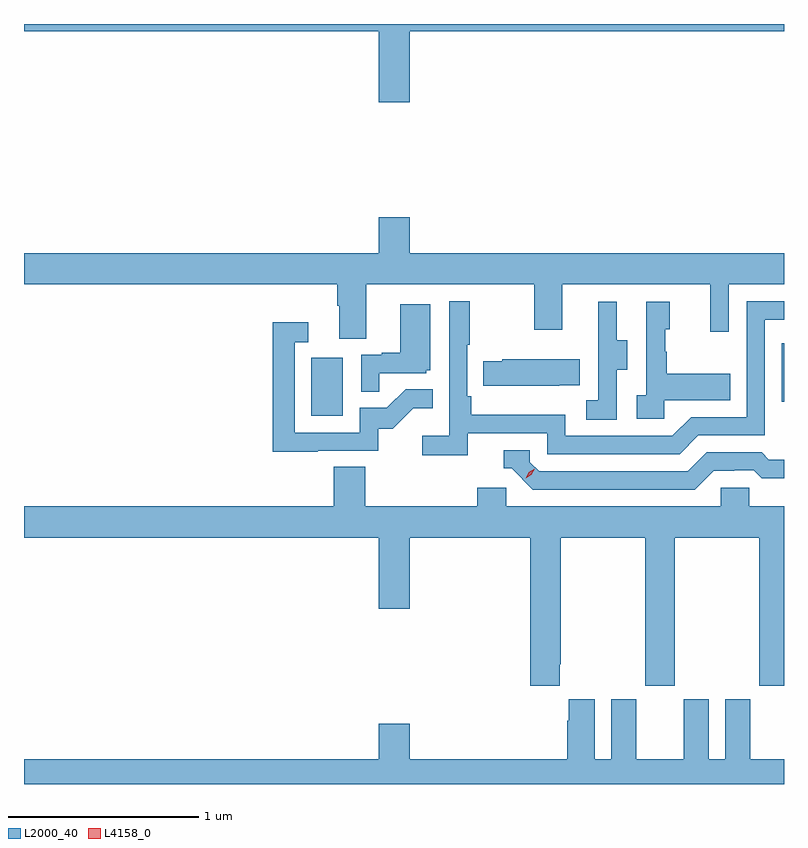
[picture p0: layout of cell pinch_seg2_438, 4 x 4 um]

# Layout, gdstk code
import gdstk
lib = gdstk.Library(unit=1e-6, precision=1e-09)
def R(c, l, rs):  # rectangles x0, y0, x1, y1
    for r in rs: c.add(gdstk.rectangle(r[:2], r[2:], *l))
def P(c, l, *ps):  # polygons
    for p in ps: c.add(gdstk.Polygon(p, *l))
L2000_40 = (2000, 40)
L4158_0 = (4158, 0)

pinch_seg2_438 = lib.new_cell('pinch_seg2_438')
R(pinch_seg2_438, L2000_40, [(919.898,613.644,920.062,613.951), (922.374,613.719,922.385,614.028)])
P(pinch_seg2_438, L2000_40, [(920.416,615.668),(922.385,615.668),(922.385,615.707),(918.385,615.707),(918.385,615.668),(920.252,615.668),(920.252,615.294),(920.416,615.294)],
  [(920.185,614.336),(921.07,614.336),(921.07,614.097),(921.217,614.097),(921.217,614.336),(921.998,614.336),(921.998,614.088),(922.095,614.088),(922.095,614.336),(922.385,614.336),(922.385,614.5),(920.416,614.5),(920.416,614.689),(920.252,614.689),(920.252,614.5),(918.385,614.5),(918.385,614.336),(920.033,614.336),(920.033,614.224),(920.045,614.224),(920.045,614.05),(920.185,614.05)],
  [(920.72,613.554),(921.138,613.554),(921.138,613.443),(921.835,613.443),(921.934,613.542),(922.284,613.542),(922.284,614.151),(922.385,614.151),(922.385,614.247),(922.188,614.247),(922.188,613.638),(921.897,613.638),(921.798,613.539),(921.234,613.539),(921.234,613.651),(920.738,613.651),(920.738,613.747),(920.718,613.747),(920.718,614.02),(920.731,614.02),(920.731,614.248),(920.622,614.248),(920.622,613.54),(920.481,613.54),(920.481,613.438),(920.72,613.438)],
  [(921.756,613.727),(922.103,613.727),(922.103,613.867),(921.769,613.867),(921.769,613.982),(921.759,613.982),(921.759,614.1),(921.784,614.1),(921.784,614.245),(921.66,614.245),(921.66,613.754),(921.609,613.754),(921.609,613.629),(921.756,613.629)],
  [(921.504,613.888),(921.559,613.888),(921.559,614.043),(921.505,614.043),(921.505,614.245),(921.407,614.245),(921.407,614.031),(921.408,614.031),(921.408,613.727),(921.345,613.727),(921.345,613.624),(921.504,613.624)],
  [(920.255,613.869),(920.502,613.869),(920.502,613.884),(920.524,613.884),(920.524,614.233),(920.366,614.233),(920.366,613.978),(920.267,613.978),(920.267,613.965),(920.16,613.965),(920.16,613.771),(920.255,613.771)],
  [(919.931,613.461),(920.25,613.461),(920.25,613.578),(920.326,613.578),(920.433,613.685),(920.537,613.685),(920.537,613.784),(920.393,613.784),(920.295,613.686),(920.151,613.686),(920.151,613.557),(919.809,613.557),(919.809,614.031),(919.882,614.031),(919.882,614.137),(919.693,614.137),(919.693,613.456),(919.931,613.456)],
  [(921.203,613.805),(921.311,613.805),(921.311,613.942),(920.901,613.942),(920.901,613.932),(920.803,613.932),(920.803,613.802),(921.203,613.802)],
  [(922.015,613.356),(922.122,613.356),(922.122,613.359),(922.225,613.359),(922.267,613.317),(922.385,613.317),(922.385,613.413),(922.306,613.413),(922.267,613.452),(921.978,613.452),(921.879,613.353),(921.096,613.353),(921.048,613.401),(921.048,613.464),(920.909,613.464),(920.909,613.368),(920.952,613.368),(921.063,613.257),(921.916,613.257)],
  [(921.205,612.337),(921.21,612.337),(921.21,613.004),(921.655,613.004),(921.655,612.225),(921.81,612.225),(921.81,613.004),(922.255,613.004),(922.255,612.225),(922.385,612.225),(922.385,613.168),(922.203,613.168),(922.203,613.266),(922.053,613.266),(922.053,613.168),(920.922,613.168),(920.922,613.266),(920.771,613.266),(920.771,613.168),(920.18,613.168),(920.18,613.376),(920.015,613.376),(920.015,613.168),(918.385,613.168),(918.385,613.004),(920.252,613.004),(920.252,612.63),(920.416,612.63),(920.416,613.004),(921.05,613.004),(921.05,612.225),(921.205,612.225)],
  [(922.385,611.836),(922.207,611.836),(922.207,612.154),(922.076,612.154),(922.076,611.836),(921.988,611.836),(921.988,612.154),(921.857,612.154),(921.857,611.836),(921.607,611.836),(921.607,612.154),(921.476,612.154),(921.476,611.836),(921.388,611.836),(921.388,612.154),(921.251,612.154),(921.251,612.041),(921.245,612.041),(921.245,611.836),(920.416,611.836),(920.416,612.025),(920.252,612.025),(920.252,611.836),(918.385,611.836),(918.385,611.707),(922.385,611.707)])
P(pinch_seg2_438, L4158_0, [(921.025,613.315),(921.025,613.315),(921.041,613.348),(921.072,613.367),(921.072,613.367),(921.072,613.367),(921.056,613.334),(921.025,613.315)])

lib.write_gds('pinch_seg2_438.gds')
